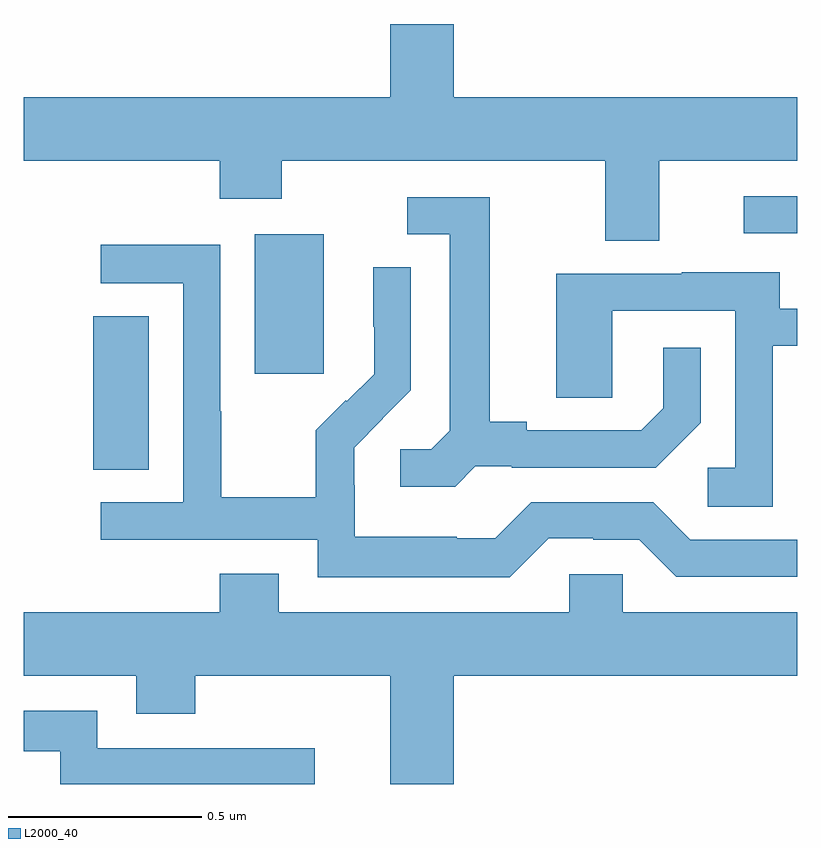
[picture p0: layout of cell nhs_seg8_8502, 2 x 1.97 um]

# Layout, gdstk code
import gdstk
lib = gdstk.Library(unit=1e-6, precision=1e-09)
def R(c, l, rs):  # rectangles x0, y0, x1, y1
    for r in rs: c.add(gdstk.rectangle(r[:2], r[2:], *l))
def P(c, l, *ps):  # polygons
    for p in ps: c.add(gdstk.Polygon(p, *l))
L2000_40 = (2000, 40)

nhs_seg8_8502 = lib.new_cell('nhs_seg8_8502')
R(nhs_seg8_8502, L2000_40, [(224.18,1103.713,224.323,1104.11), (224.597,1103.961,224.776,1104.322), (225.861,1104.324,226,1104.42)])
P(nhs_seg8_8502, L2000_40, [(225.643,1104.512),(226,1104.512),(226,1104.676),(225.112,1104.676),(225.112,1104.865),(224.948,1104.865),(224.948,1104.676),(224,1104.676),(224,1104.512),(224.507,1104.512),(224.507,1104.413),(224.667,1104.413),(224.667,1104.512),(225.503,1104.512),(225.503,1104.304),(225.643,1104.304)],
  [(225.168,1103.721),(225.262,1103.721),(225.262,1103.718),(225.634,1103.718),(225.75,1103.834),(225.75,1104.028),(225.653,1104.028),(225.653,1103.871),(225.596,1103.814),(225.301,1103.814),(225.301,1103.837),(225.205,1103.837),(225.205,1104.417),(224.991,1104.417),(224.991,1104.321),(225.101,1104.321),(225.101,1103.813),(225.054,1103.766),(224.973,1103.766),(224.973,1103.669),(225.116,1103.669)],
  [(225.357,1103.535),(225.473,1103.535),(225.473,1103.532),(225.591,1103.532),(225.687,1103.436),(226,1103.436),(226,1103.532),(225.723,1103.532),(225.627,1103.628),(225.312,1103.628),(225.219,1103.535),(225.119,1103.535),(225.119,1103.539),(224.856,1103.539),(224.856,1103.673),(224.854,1103.673),(224.854,1103.77),(224.928,1103.844),(224.927,1103.845),(225,1103.918),(225,1104.236),(224.904,1104.236),(224.904,1104.082),(224.906,1104.082),(224.906,1103.96),(224.835,1103.889),(224.832,1103.892),(224.755,1103.815),(224.755,1103.641),(224.511,1103.641),(224.511,1103.864),(224.508,1103.864),(224.508,1104.294),(224.199,1104.294),(224.199,1104.195),(224.412,1104.195),(224.412,1103.628),(224.199,1103.628),(224.199,1103.532),(224.76,1103.532),(224.76,1103.435),(225.257,1103.435)],
  [(225.936,1104.033),(226,1104.033),(226,1104.129),(225.955,1104.129),(225.955,1104.223),(225.701,1104.223),(225.701,1104.219),(225.377,1104.219),(225.377,1103.899),(225.522,1103.899),(225.522,1104.123),(225.84,1104.123),(225.84,1103.718),(225.768,1103.718),(225.768,1103.617),(225.936,1103.617)],
  [(225.112,1103.18),(226,1103.18),(226,1103.344),(225.549,1103.344),(225.549,1103.442),(225.411,1103.442),(225.411,1103.344),(224.659,1103.344),(224.659,1103.443),(224.507,1103.443),(224.507,1103.344),(224,1103.344),(224,1103.18),(224.291,1103.18),(224.291,1103.081),(224.444,1103.081),(224.444,1103.18),(224.948,1103.18),(224.948,1102.9),(225.112,1102.9)],
  [(224.752,1102.992),(224.19,1102.992),(224.19,1103.089),(224,1103.089),(224,1102.985),(224.094,1102.985),(224.094,1102.9),(224.752,1102.9)])

lib.write_gds('nhs_seg8_8502.gds')
